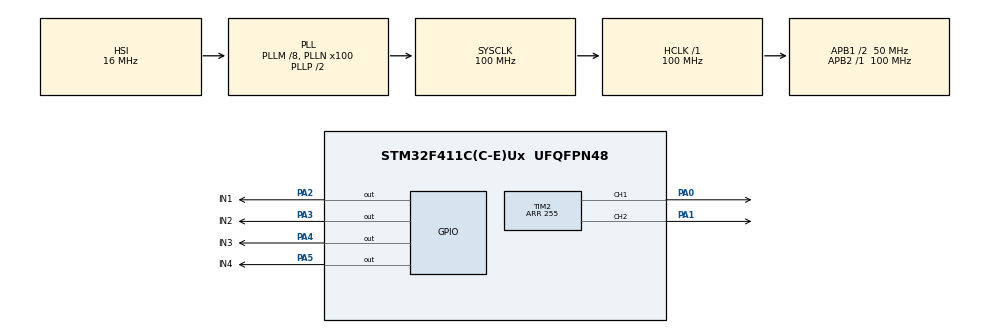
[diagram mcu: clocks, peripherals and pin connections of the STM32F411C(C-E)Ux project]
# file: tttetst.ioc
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Mcu.Family=STM32F4
Mcu.Name=STM32F411C(C-E)Ux
Mcu.Package=UFQFPN48
NVIC.PriorityGroup=NVIC_PRIORITYGROUP_4
PA0-WKUP.Signal=S_TIM2_CH1_ETR
PA1.Signal=S_TIM2_CH2
PA13.Mode=Serial_Wire
PA13.Signal=SYS_JTMS-SWDIO
PA14.Mode=Serial_Wire
PA14.Signal=SYS_JTCK-SWCLK
PA2.GPIO_Label=IN1
PA2.Signal=GPIO_Output
PA3.GPIO_Label=IN2
PA3.Signal=GPIO_Output
PA4.GPIO_Label=IN3
PA4.Signal=GPIO_Output
PA5.GPIO_Label=IN4
PA5.Signal=GPIO_Output
PH0\ -\ OSC_IN.Mode=HSE-External-Oscillator
PH0\ -\ OSC_IN.Signal=RCC_OSC_IN
PH1\ -\ OSC_OUT.Mode=HSE-External-Oscillator
PH1\ -\ OSC_OUT.Signal=RCC_OSC_OUT
ProjectManager.HeapSize=0x200
ProjectManager.StackSize=0x400
ProjectManager.TargetToolchain=STM32CubeIDE
RCC.48MHZClocksFreq_Value=50000000
RCC.AHBFreq_Value=100000000
RCC.APB1CLKDivider=RCC_HCLK_DIV2
RCC.APB1Freq_Value=50000000
RCC.APB1TimFreq_Value=100000000
RCC.APB2Freq_Value=100000000
RCC.APB2TimFreq_Value=100000000
RCC.CortexFreq_Value=100000000
RCC.HCLKFreq_Value=100000000
RCC.HSE_VALUE=25000000
RCC.HSI_VALUE=16000000
RCC.LSE_VALUE=32768
RCC.PLLM=8
RCC.PLLN=100
RCC.SYSCLKFreq_VALUE=100000000
RCC.SYSCLKSource=RCC_SYSCLKSOURCE_PLLCLK
RCC.VCOOutputFreq_Value=200000000
SH.S_TIM2_CH1_ETR.0=TIM2_CH1,PWM Generation1 CH1
SH.S_TIM2_CH2.0=TIM2_CH2,PWM Generation2 CH2
TIM2.AutoReloadPreload=TIM_AUTORELOAD_PRELOAD_ENABLE
TIM2.Channel-PWM\ Generation1\ CH1=TIM_CHANNEL_1
TIM2.Channel-PWM\ Generation2\ CH2=TIM_CHANNEL_2
TIM2.OCFastMode_PWM-PWM\ Generation1\ CH1=TIM_OCFAST_ENABLE
TIM2.OCFastMode_PWM-PWM\ Generation2\ CH2=TIM_OCFAST_ENABLE
TIM2.Period=255
board=custom

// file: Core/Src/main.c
/* USER CODE BEGIN Header */
/**
  ******************************************************************************
  * @file           : main.c
  * @brief          : Main program body
  ******************************************************************************
  * @attention
  *
  * Copyright (c) 2024 STMicroelectronics.
  * All rights reserved.
  *
  * This software is licensed under terms that can be found in the LICENSE file
  * in the root directory of this software component.
  * If no LICENSE file comes with this software, it is provided AS-IS.
  *
  ******************************************************************************
  */
/* USER CODE END Header */
#include "main.h"

TIM_HandleTypeDef htim2;

void SystemClock_Config(void);
static void MX_GPIO_Init(void);
static void MX_TIM2_Init(void);

int main(void)
{

  /* MCU Configuration--------------------------------------------------------*/

  /* Reset of all peripherals, Initializes the Flash interface and the Systick. */
  HAL_Init();

  /* Configure the system clock */
  SystemClock_Config();

  /* Initialize all configured peripherals */
  MX_GPIO_Init();
  MX_TIM2_Init();
  /* USER CODE BEGIN 2 */

  HAL_TIM_PWM_Start(&htim2, TIM_CHANNEL_1);
  HAL_TIM_PWM_Start(&htim2, TIM_CHANNEL_2);

  uint32_t a = 0;

  /* USER CODE END 2 */

  /* Infinite loop */
  /* USER CODE BEGIN WHILE */
  while (1)
  {

		//LEFT
		HAL_GPIO_WritePin(IN1_GPIO_Port, IN1_Pin, GPIO_PIN_SET);
		HAL_GPIO_WritePin(IN2_GPIO_Port, IN2_Pin, GPIO_PIN_RESET);

		//RIGHT
		HAL_GPIO_WritePin(IN3_GPIO_Port, IN3_Pin, GPIO_PIN_SET);
		HAL_GPIO_WritePin(IN4_GPIO_Port, IN4_Pin, GPIO_PIN_RESET);

		a = 255;

		//Right
		__HAL_TIM_SET_COMPARE(&htim2, TIM_CHANNEL_1, a);

		//Left
		__HAL_TIM_SET_COMPARE(&htim2, TIM_CHANNEL_2, a);

		HAL_Delay(1000);

		a = 80;

		//Right
		__HAL_TIM_SET_COMPARE(&htim2, TIM_CHANNEL_1, a);

		//Left
		__HAL_TIM_SET_COMPARE(&htim2, TIM_CHANNEL_2, a);

		HAL_Delay(1000);

    /* USER CODE END WHILE */

  }
}

void SystemClock_Config(void)
{
  RCC_OscInitTypeDef RCC_OscInitStruct = {0};
  RCC_ClkInitTypeDef RCC_ClkInitStruct = {0};

  /** Configure the main internal regulator output voltage
  */
  __HAL_RCC_PWR_CLK_ENABLE();
  __HAL_PWR_VOLTAGESCALING_CONFIG(PWR_REGULATOR_VOLTAGE_SCALE1);

  /** Initializes the RCC Oscillators according to the specified parameters
  * in the RCC_OscInitTypeDef structure.
  */
  RCC_OscInitStruct.OscillatorType = RCC_OSCILLATORTYPE_HSI;
  RCC_OscInitStruct.HSIState = RCC_HSI_ON;
  RCC_OscInitStruct.HSICalibrationValue = RCC_HSICALIBRATION_DEFAULT;
  RCC_OscInitStruct.PLL.PLLState = RCC_PLL_ON;
  RCC_OscInitStruct.PLL.PLLSource = RCC_PLLSOURCE_HSI;
  RCC_OscInitStruct.PLL.PLLM = 8;
  RCC_OscInitStruct.PLL.PLLN = 100;
  RCC_OscInitStruct.PLL.PLLP = RCC_PLLP_DIV2;
  RCC_OscInitStruct.PLL.PLLQ = 4;
  if (HAL_RCC_OscConfig(&RCC_OscInitStruct) != HAL_OK)
  {
    Error_Handler();
  }

  /** Initializes the CPU, AHB and APB buses clocks
  */
  RCC_ClkInitStruct.ClockType = RCC_CLOCKTYPE_HCLK|RCC_CLOCKTYPE_SYSCLK
                              |RCC_CLOCKTYPE_PCLK1|RCC_CLOCKTYPE_PCLK2;
  RCC_ClkInitStruct.SYSCLKSource = RCC_SYSCLKSOURCE_PLLCLK;
  RCC_ClkInitStruct.AHBCLKDivider = RCC_SYSCLK_DIV1;
  RCC_ClkInitStruct.APB1CLKDivider = RCC_HCLK_DIV2;
  RCC_ClkInitStruct.APB2CLKDivider = RCC_HCLK_DIV1;

  if (HAL_RCC_ClockConfig(&RCC_ClkInitStruct, FLASH_LATENCY_3) != HAL_OK)
  {
    Error_Handler();
  }
}

static void MX_TIM2_Init(void)
{

  TIM_MasterConfigTypeDef sMasterConfig = {0};
  TIM_OC_InitTypeDef sConfigOC = {0};

  htim2.Instance = TIM2;
  htim2.Init.Prescaler = 0;
  htim2.Init.CounterMode = TIM_COUNTERMODE_UP;
  htim2.Init.Period = 255;
  htim2.Init.ClockDivision = TIM_CLOCKDIVISION_DIV1;
  htim2.Init.AutoReloadPreload = TIM_AUTORELOAD_PRELOAD_ENABLE;
  if (HAL_TIM_PWM_Init(&htim2) != HAL_OK)
  {
    Error_Handler();
  }
  sMasterConfig.MasterOutputTrigger = TIM_TRGO_RESET;
  sMasterConfig.MasterSlaveMode = TIM_MASTERSLAVEMODE_DISABLE;
  if (HAL_TIMEx_MasterConfigSynchronization(&htim2, &sMasterConfig) != HAL_OK)
  {
    Error_Handler();
  }
  sConfigOC.OCMode = TIM_OCMODE_PWM1;
  sConfigOC.Pulse = 0;
  sConfigOC.OCPolarity = TIM_OCPOLARITY_HIGH;
  sConfigOC.OCFastMode = TIM_OCFAST_ENABLE;
  if (HAL_TIM_PWM_ConfigChannel(&htim2, &sConfigOC, TIM_CHANNEL_1) != HAL_OK)
  {
    Error_Handler();
  }
  if (HAL_TIM_PWM_ConfigChannel(&htim2, &sConfigOC, TIM_CHANNEL_2) != HAL_OK)
  {
    Error_Handler();
  }
  HAL_TIM_MspPostInit(&htim2);

}

static void MX_GPIO_Init(void)
{
  GPIO_InitTypeDef GPIO_InitStruct = {0};

  /* GPIO Ports Clock Enable */
  __HAL_RCC_GPIOH_CLK_ENABLE();
  __HAL_RCC_GPIOA_CLK_ENABLE();

  /*Configure GPIO pin Output Level */
  HAL_GPIO_WritePin(GPIOA, IN1_Pin|IN2_Pin|IN3_Pin|IN4_Pin, GPIO_PIN_RESET);

  /*Configure GPIO pins : IN1_Pin IN2_Pin IN3_Pin IN4_Pin */
  GPIO_InitStruct.Pin = IN1_Pin|IN2_Pin|IN3_Pin|IN4_Pin;
  GPIO_InitStruct.Mode = GPIO_MODE_OUTPUT_PP;
  GPIO_InitStruct.Pull = GPIO_NOPULL;
  GPIO_InitStruct.Speed = GPIO_SPEED_FREQ_LOW;
  HAL_GPIO_Init(GPIOA, &GPIO_InitStruct);

}

void Error_Handler(void)
{
  __disable_irq();
  while (1)
  {
  }
}
